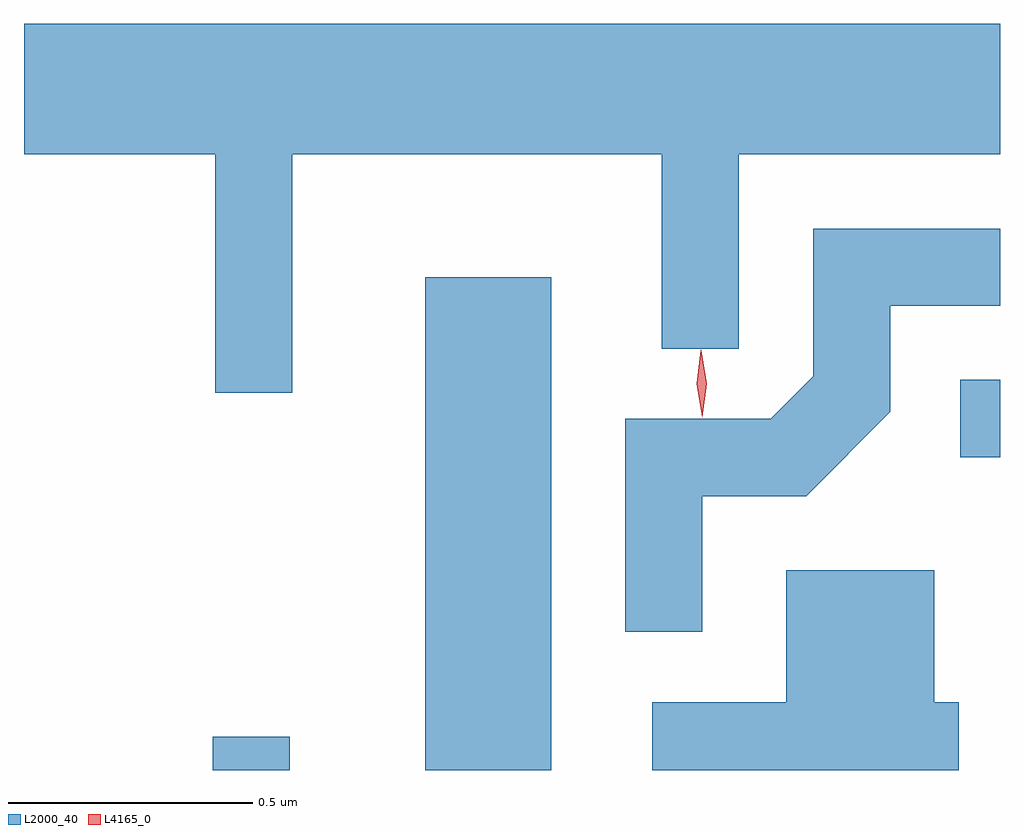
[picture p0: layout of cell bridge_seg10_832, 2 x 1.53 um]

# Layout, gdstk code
import gdstk
lib = gdstk.Library(unit=1e-6, precision=1e-09)
def R(c, l, rs):  # rectangles x0, y0, x1, y1
    for r in rs: c.add(gdstk.rectangle(r[:2], r[2:], *l))
def P(c, l, *ps):  # polygons
    for p in ps: c.add(gdstk.Polygon(p, *l))
L2000_40 = (2000, 40)
L4165_0 = (4165, 0)

bridge_seg10_832 = lib.new_cell('bridge_seg10_832')
R(bridge_seg10_832, L2000_40, [(440.501,2132.634,440.659,2132.703), (440.936,2132.634,441.194,2133.644), (442.033,2133.276,442.114,2133.434)])
P(bridge_seg10_832, L2000_40, [(440.664,2133.896),(441.421,2133.896),(441.421,2133.498),(441.579,2133.498),(441.579,2133.896),(442.114,2133.896),(442.114,2134.164),(440.114,2134.164),(440.114,2133.896),(440.506,2133.896),(440.506,2133.408),(440.664,2133.408)],
  [(441.504,2133.196),(441.717,2133.196),(441.889,2133.369),(441.889,2133.586),(442.114,2133.586),(442.114,2133.744),(441.731,2133.744),(441.731,2133.442),(441.644,2133.354),(441.346,2133.354),(441.346,2132.918),(441.504,2132.918)],
  [(442.029,2132.774),(441.979,2132.774),(441.979,2133.044),(441.676,2133.044),(441.676,2132.774),(441.401,2132.774),(441.401,2132.634),(442.029,2132.634)])
P(bridge_seg10_832, L4165_0, [(441.504,2133.357),(441.504,2133.357),(441.493,2133.426),(441.501,2133.495),(441.502,2133.496),(441.502,2133.495),(441.513,2133.426),(441.504,2133.357)],
  [(441.504,2133.359),(441.504,2133.36),(441.493,2133.426),(441.501,2133.492),(441.502,2133.492),(441.502,2133.492),(441.513,2133.426),(441.504,2133.36)])

lib.write_gds('bridge_seg10_832.gds')
